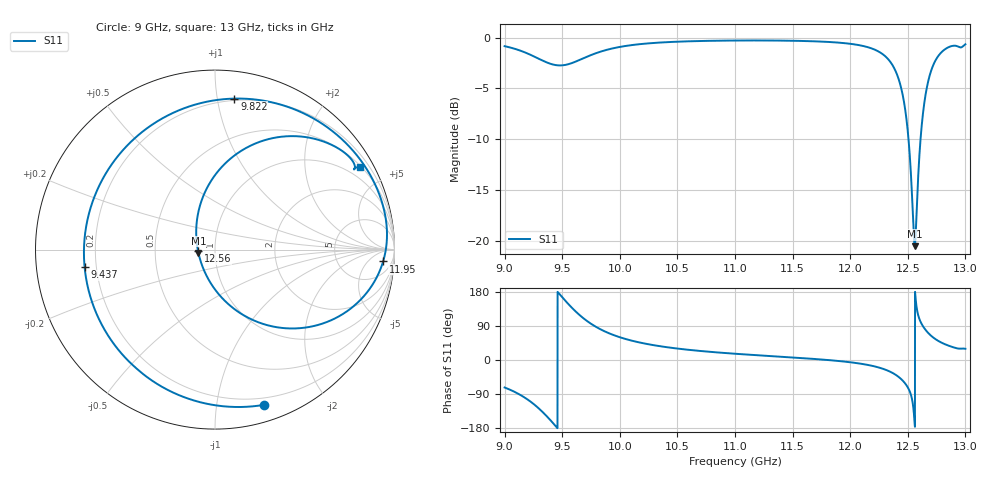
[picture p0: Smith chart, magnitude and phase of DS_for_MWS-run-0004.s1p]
! TOUCHSTONE file generated by CST DESIGN STUDIO
! Date and time: Tue Feb  4 13:02:18 2025
! Project name: C:\Work\MatlabApps\UnitCellOptimizationMatlab\CST\unitcell.cst
! Tree item: Tasks\Sweep1\SPara1\S-Parameters
! Header version: 2024
! Port assignment regex: !\s*Touchstone port\s*([0-9]+)\s*=\s*(CST MWS port|CST DES external port|CST DES block port)\s*(.+)\s* \(\"(.*)\"\)(\s*mode\s*([0-9]+))?.*
! Touchstone port assignment:
! Touchstone port 1 = CST DES external port 1 ("")
# GHz S MA R 50
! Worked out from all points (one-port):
!   4001 points, 9 GHz to 13 GHz, reference 50 ohm
!   lowest |S11| = -20.5 dB at 12.56 GHz (marker M1), VSWR 1.21, Z = 41.5 - j1.62 ohm
!   |S11| at or under -10 dB: 12.51 GHz to 12.61 GHz (104.4 MHz wide, 0.831 % of centre)
!   S11 on the Smith chart (normalised r, x): 9 GHz: 0.14, -1.35; 9.437 GHz: 0.15, -0.07; 9.822 GHz: 0.19, +1.12; 11.95 GHz: 14, -16; 12.56 GHz: 0.83, -0.01; 13 GHz: 0.57, +3.70
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9  0.907 -72.5
9.134  0.8631 -91.7
9.238  0.8159 -112.8
9.332  0.7693 -137.9
9.437  0.7331 -172.3
9.5  0.7299 165.7
9.581  0.7479 138.8
9.654  0.7774 117.8
9.822  0.8484 82.7
10  0.8991 60.1
10.216  0.9327 43.4
10.5  0.954 30.2
11  0.9667 16.5
11.5  0.9641 6.7
11.945  0.9391 -4.0
12  0.9316 -5.9
12.185  0.8844 -15.0
12.311  0.8025 -26.2
12.429  0.6028 -46.8
12.5  0.3453 -72.3
12.547  0.1217 -123.3
12.56  0.0942 -168.2
12.562  0.09512 -176.3
12.624  0.3852 93.1
12.69  0.6508 67.4
12.76  0.8045 51.2
12.833  0.8832 40.3
13  0.9267 29.6
